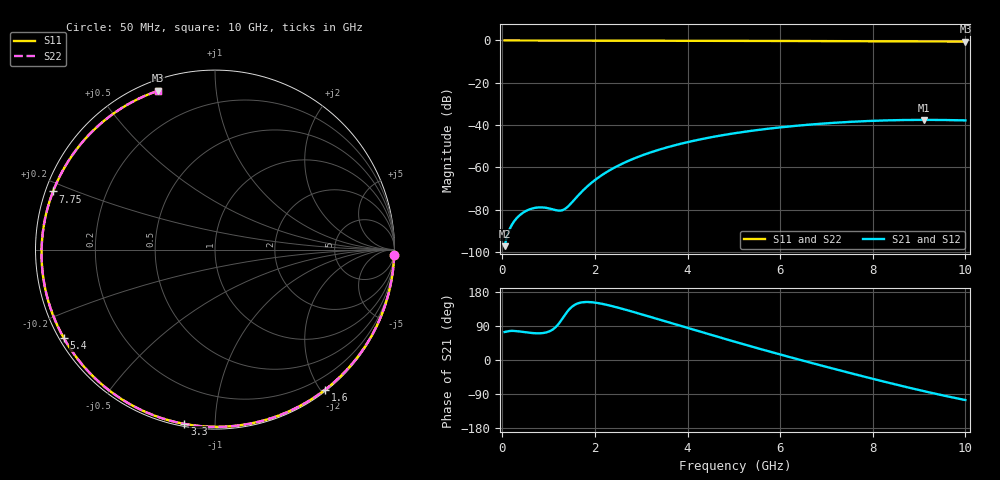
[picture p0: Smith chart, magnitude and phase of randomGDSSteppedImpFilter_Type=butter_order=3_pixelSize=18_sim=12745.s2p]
! freq	dB(S11)	phase(S11)	dB(S12)	phase(S12)
!  dB(S21)	phase(S21)	dB(S22)	phase(S22)
!S-par simulation data
#  GHz  S  DB  R 50
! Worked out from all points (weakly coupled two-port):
!   200 points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, 50 MHz to 10 GHz, reference 50 ohm
!   highest |S21| = -37.55 dB at 9.1 GHz (marker M1); lowest = -97.2 dB at 50 MHz (marker M2)
!   lowest |S11| = -0.5 dB at 10 GHz (marker M3), VSWR 32.29, Z = 2.31 + j35.1 ohm
!   |S11| at or under -10 dB: nowhere
!   |S22| runs from -0.5 to 0.0 dB; largest |S21 - S12| = 0
!   S11 on the Smith chart (normalised r, x): 50 MHz: 1, -71; 1.6 GHz: 0.02, -2.06; 3.3 GHz: 0.01, -0.84; 5.4 GHz: 0.01, -0.27; 7.75 GHz: 0.02, +0.17; 10 GHz: 0.05, +0.70
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0.05  -0.00 -1.6  -97.24 73.8  -97.24 73.8  -0.00 -1.6
0.55  -0.03 -18.2  -80.19 72.4  -80.19 72.4  -0.03 -18.2
0.65  -0.03 -21.5  -79.41 71.1  -79.41 71.1  -0.03 -21.5
0.85  -0.04 -28.1  -78.91 70.8  -78.91 70.8  -0.04 -28.1
1.3  -0.05 -42.5  -80.22 109.6  -80.22 109.6  -0.05 -42.5
1.4  -0.06 -45.6  -78.87 127.0  -78.87 127.0  -0.06 -45.6
1.6  -0.06 -51.8  -74.20 147.8  -74.20 147.8  -0.06 -51.8
1.75  -0.07 -56.4  -70.75 152.5  -70.75 152.5  -0.07 -56.4
2.05  -0.08 -65.4  -65.19 150.6  -65.19 150.6  -0.08 -65.3
2.4  -0.09 -75.5  -60.37 141.3  -60.37 141.3  -0.09 -75.5
2.8  -0.10 -86.6  -56.20 127.9  -56.20 127.9  -0.10 -86.6
3.3  -0.12 -99.9  -52.22 110.0  -52.22 110.0  -0.12 -99.9
3.4  -0.12 -102.5  -51.54 106.4  -51.54 106.4  -0.12 -102.5
4.15  -0.15 -121.1  -47.34 79.2  -47.34 79.2  -0.15 -121.0
5.05  -0.19 -141.8  -43.75 47.1  -43.75 47.1  -0.19 -141.8
5.4  -0.21 -149.6  -42.66 35.0  -42.66 35.0  -0.21 -149.6
6.05  -0.25 -163.7  -40.98 12.9  -40.98 12.9  -0.25 -163.6
6.7  -0.29 -177.5  -39.67 -8.5  -39.67 -8.5  -0.29 -177.4
7.75  -0.37 160.2  -38.22 -41.9  -38.22 -41.9  -0.37 160.3
8.35  -0.41 147.3  -37.75 -60.3  -37.75 -60.3  -0.41 147.3
9.1  -0.47 130.6  -37.55 -82.1  -37.55 -82.1  -0.47 130.6
10  -0.54 109.7  -37.79 -105.7  -37.79 -105.7  -0.54 109.8
